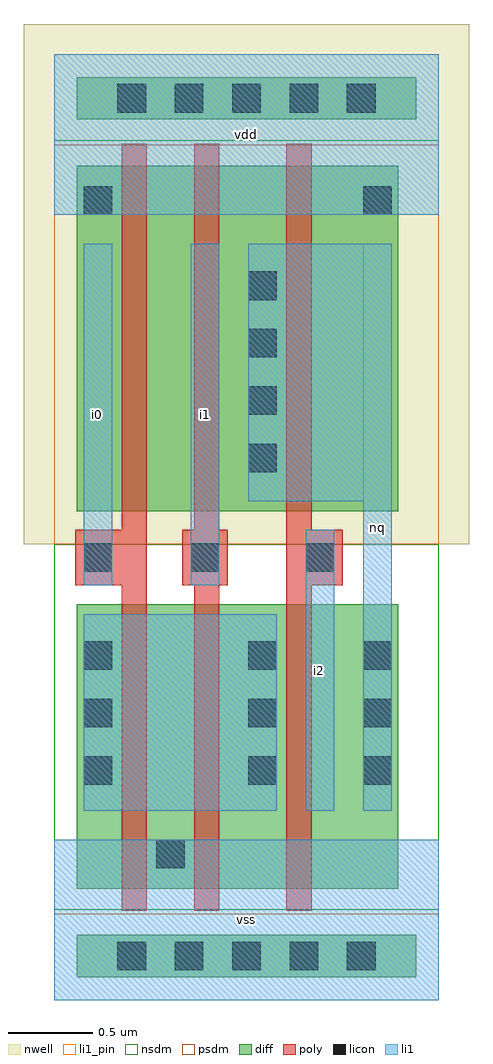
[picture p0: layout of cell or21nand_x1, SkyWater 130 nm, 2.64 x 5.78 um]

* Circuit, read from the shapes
.subckt or21nand_x1 i0 i1 i2 nq vdd vss
XM1 vss i0 n1 VSUBS sky130_fd_pr__nfet_01v8 w=1.685 l=0.15
XM2 n1 i1 vss VSUBS sky130_fd_pr__nfet_01v8 w=1.685 l=0.15
XM3 nq i2 n1 VSUBS sky130_fd_pr__nfet_01v8 w=1.685 l=0.15
XM4 n2 i0 vdd n3 sky130_fd_pr__pfet_01v8 w=2.045 l=0.15
XM5 nq i1 n2 n3 sky130_fd_pr__pfet_01v8 w=2.045 l=0.15
XM6 vdd i2 nq n3 sky130_fd_pr__pfet_01v8 w=2.045 l=0.15
.ends

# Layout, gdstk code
import gdstk
lib = gdstk.Library(unit=1e-6, precision=1e-09)
def R(c, l, rs):  # rectangles x0, y0, x1, y1
    for r in rs: c.add(gdstk.rectangle(r[:2], r[2:], *l))
def A(c, l, x, y, w, h, nx, ny, dx, dy):  # array of equal rectangles
    R(c, l, [(x+i*dx, y+j*dy, x+i*dx+w, y+j*dy+h) for i in range(nx) for j in range(ny)])
def P(c, l, *ps):  # polygons
    for p in ps: c.add(gdstk.Polygon(p, *l))
nwell = (64, 20)
diff = (65, 20)
poly = (66, 20)
licon = (66, 44)
li1_pin = (67, 16)
li1 = (67, 20)
nsdm = (93, 44)
psdm = (94, 20)

or21nand_x1 = lib.new_cell('or21nand_x1')
R(or21nand_x1, nwell, [(-0.18,2.7,2.46,5.78)])
R(or21nand_x1, diff, [(0.135,0.135,2.145,0.385), (0.135,0.66,2.04,2.345), (0.135,2.895,2.04,4.94), (0.135,5.215,2.145,5.465)])
P(or21nand_x1, poly, [(0.4,0.53),(0.4,2.455),(0.125,2.455),(0.125,2.785),(0.4,2.785),(0.4,5.07),(0.55,5.07),(0.55,0.53)],
  [(0.83,0.53),(0.83,2.455),(0.76,2.455),(0.76,2.785),(0.83,2.785),(0.83,5.07),(0.98,5.07),(0.98,2.785),(1.03,2.785),(1.03,2.455),(0.98,2.455),(0.98,0.53)],
  [(1.375,0.53),(1.375,5.07),(1.525,5.07),(1.525,2.785),(1.71,2.785),(1.71,2.455),(1.525,2.455),(1.525,0.53)])
A(or21nand_x1, licon, 0.375, 0.175, 0.17, 0.17, 5, 2, 0.34, 5.08)
A(or21nand_x1, licon, 0.175, 1.275, 0.17, 0.17, 1, 3, 0, 0.34)
A(or21nand_x1, licon, 1.15, 1.275, 0.17, 0.17, 1, 3, 0, 0.34)
A(or21nand_x1, licon, 1.83, 1.275, 0.17, 0.17, 1, 3, 0, 0.34)
A(or21nand_x1, licon, 1.15, 3.125, 0.17, 0.17, 1, 4, 0, 0.34)
R(or21nand_x1, licon, [(0.605,0.78,0.775,0.95), (0.175,2.535,0.345,2.705), (0.81,2.535,0.98,2.705), (1.49,2.535,1.66,2.705), (0.175,4.65,0.345,4.82), (1.83,4.65,2,4.82)])
R(or21nand_x1, li1_pin, [(0,0,2.28,0.95), (1.49,1.12,1.66,2.785), (1.83,1.12,2,4.48), (0.175,2.455,0.345,4.48), (0.81,2.455,0.98,4.48), (0,4.65,2.28,5.6)])
R(or21nand_x1, li1, [(0,0,2.28,0.95), (0.175,1.12,1.32,2.285), (1.49,1.12,1.66,2.785), (0.175,2.455,0.345,4.48), (0.81,2.455,0.98,4.48), (0,4.65,2.28,5.6)])
P(or21nand_x1, li1, [(1.83,1.12),(1.83,2.955),(1.15,2.955),(1.15,4.48),(2,4.48),(2,1.12)])
R(or21nand_x1, nsdm, [(0,0.535,2.28,2.7), (0,5.09,2.28,5.6)])
R(or21nand_x1, psdm, [(0,0,2.28,0.51), (0,2.7,2.28,5.065)])
or21nand_x1.add(gdstk.Label('vdd', (1.14,5.125), layer=67, texttype=16))
or21nand_x1.add(gdstk.Label('vss', (1.14,0.475), layer=67, texttype=16))
or21nand_x1.add(gdstk.Label('i0', (0.26,3.468), layer=67, texttype=16))
or21nand_x1.add(gdstk.Label('i1', (0.895,3.468), layer=67, texttype=16))
or21nand_x1.add(gdstk.Label('nq', (1.915,2.8), layer=67, texttype=16))
or21nand_x1.add(gdstk.Label('i2', (1.575,1.953), layer=67, texttype=16))

lib.write_gds('or21nand_x1.gds')
